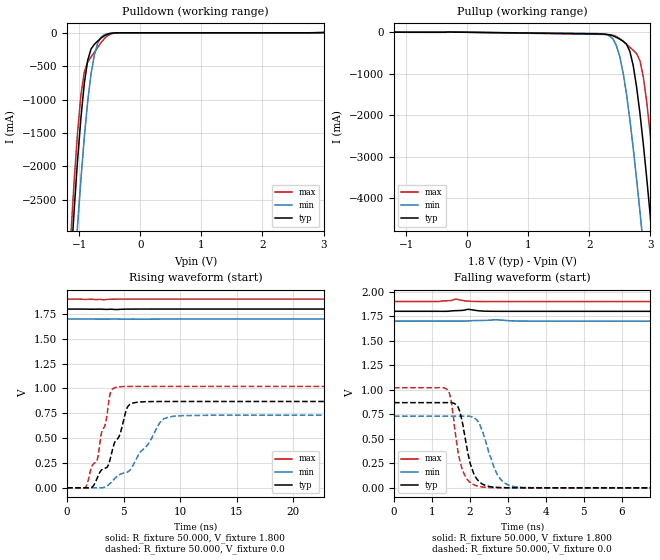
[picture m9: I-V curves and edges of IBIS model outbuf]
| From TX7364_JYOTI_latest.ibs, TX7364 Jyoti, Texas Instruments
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|   Model outbuf
[Model] outbuf
Model_type Output
Polarity   Non-Inverting
Enable   Active-High
Vmeas =  0.300V
Cref =  2.000pF
Rref =  50.000
Vref =  0.0V
C_comp   2.856pF   2.813pF   2.941pF
[Temperature Range]   25.000   0.125k   -40.000
[Voltage Range]   1.800V   1.700V   1.900V
C_comp   2.856pF   2.813pF   2.941pF
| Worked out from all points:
|   slope of the pullup table from 0 to 0.27 V, typ, clamps not added: 53.2 ohm
|   rising waveform, R_fixture 50.000, V_fixture 0.0: 20-80 % time 2.03ns typ, 2.92ns min, 1.47ns max; typ from 0 V to 0.869 V
|   falling waveform, R_fixture 50.000, V_fixture 0.0: 20-80 % time 291ps typ, 388ps min, 254ps max; typ from 0.869 V to 0 V
[Pulldown]
|Voltage   I(typ)   I(min)   I(max)
-1.8V     -15.3A     -15.8A     -15.32A
-1.139V   -3.47A     -4.452A    -3.046A
-1.084V   -2.661A    -3.652A    -2.222A
-1.029V   -1.919A    -2.895A    -1.499A
-973mV    -1.272A    -2.194A    -933.1mA
-918mV    -759.4mA   -1.567A    -585.6mA
-863mV    -415.5mA   -1.034A    -440.5mA
-808mV    -242.6mA   -618.9mA   -362.3mA
-698mV    -123.4mA   -153.1mA   -218.2mA
-588mV    -44.24mA   -30.16mA   -86.15mA
-367mV    -403.8uA   -538.1uA   -615.3uA
3.6V      28.44mA    27.91mA    30.65mA
[Pullup]
|Voltage   I(typ)   I(min)   I(max)
-1.8V     28.44mA    24.18mA    36.52mA
2.167V    -40.03mA   -35.51mA   -49.54mA
2.443V    -122.1mA   -322.1mA   -103mA
2.553V    -216.8mA   -979.4mA   -214.8mA
2.663V    -459.3mA   -2.104A    -361.8mA
2.718V    -803.4mA   -2.792A    -431.6mA
2.829V    -1.963A    -4.332A    -688.8mA
2.884V    -2.705A    -5.161A    -1.08A
2.994V    -4.375A    -6.906A    -2.425A
3.104V    -6.2A      -8.737A    -4.161A
3.159V    -7.15A     -9.679A    -5.102A
3.6V      -15.34A    -17.68A    -13.38A
[Ramp]
| variable   typ   min   max
dV/dt_r   0.521/2.028n   0.438/2.916n   0.612/1.474n
dV/dt_f   0.185m/1.479n   0.117m/1.879n   0.299m/0.166n
R_load = 50.000
[Rising Waveform]
R_fixture= 50.000
V_fixture= 1.800
V_fixture_min= 1.700
V_fixture_max= 1.900
|time   V(typ)   V(min)   V(max)
0s        1.799V     1.7V       1.899V
2.23ns    1.798V     1.699V     1.899V
2.58ns    1.799V     1.699V     1.895V
2.93ns    1.799V     1.699V     1.898V
3.27ns    1.797V     1.699V     1.893V
3.81ns    1.798V     1.699V     1.898V
4.41ns    1.795V     1.699V     1.899V
5.89ns    1.799V     1.699V     1.9V
6.31ns    1.799V     1.697V     1.9V
100ns     1.8V       1.7V       1.9V
[Rising Waveform]
R_fixture= 50.000
V_fixture= 0.0
V_fixture_min= 0.0
V_fixture_max= 0.0
|time   V(typ)   V(min)   V(max)
0s        40.19nV    1.094uV    118.3nV
1.73ns    -537.9uV   27.97uV    22.93mV
2.71ns    108.1mV    -518.9uV   300.6mV
3.43ns    199.2mV    11.16mV    660.6mV
3.82ns    291.3mV    45.6mV     952.4mV
4.65ns    530.4mV    133.3mV    1.016V
5.62ns    843.5mV    186.1mV    1.02V
8.35ns    868.5mV    675.1mV    1.021V
10.16ns   868.7mV    726.1mV    1.021V
100ns     868.7mV    730.5mV    1.021V
[Falling Waveform]
R_fixture= 50.000
V_fixture= 1.800
V_fixture_min= 1.700
V_fixture_max= 1.900
|time   V(typ)   V(min)   V(max)
0s        1.8V       1.7V       1.9V
1.18ns    1.8V       1.7V       1.9V
1.5ns     1.803V     1.7V       1.909V
1.63ns    1.806V     1.7V       1.924V
1.97ns    1.819V     1.702V     1.903V
2.26ns    1.804V     1.706V     1.9V
2.66ns    1.8V       1.713V     1.899V
3.15ns    1.799V     1.702V     1.899V
3.76ns    1.799V     1.7V       1.899V
100ns     1.799V     1.7V       1.899V
[Falling Waveform]
R_fixture= 50.000
V_fixture= 0.0
V_fixture_min= 0.0
V_fixture_max= 0.0
|time   V(typ)   V(min)   V(max)
0s        868.7mV    730.5mV    1.021V
1.39ns    868.9mV    730.4mV    1.006V
1.51ns    868.8mV    730.4mV    882.4mV
1.68ns    830.4mV    730.5mV    390.6mV
1.85ns    565.9mV    730.8mV    141mV
2.12ns    131.8mV    712.4mV    28.97mV
2.64ns    7.374mV    207.5mV    1.713mV
3ns       1.206mV    31.81mV    254.2uV
3.75ns    35.04uV    797.8uV    1.866uV
100ns     48.02nV    1.096uV    159.1nV
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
